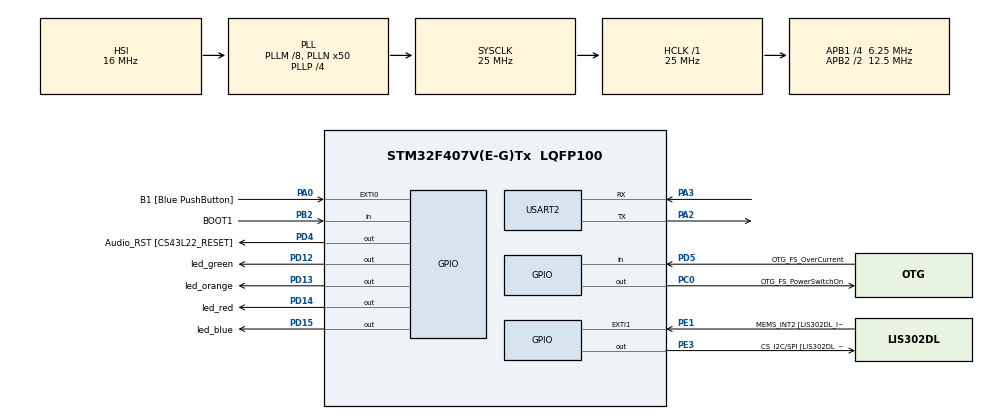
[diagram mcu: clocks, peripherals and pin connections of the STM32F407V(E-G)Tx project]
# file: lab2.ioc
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Mcu.Family=STM32F4
Mcu.Name=STM32F407V(E-G)Tx
Mcu.Package=LQFP100
NVIC.PriorityGroup=NVIC_PRIORITYGROUP_4
NVIC.TIM7_IRQn=true\:0\:0\:false\:false\:true\:false\:true
NVIC.TimeBase=TIM7_IRQn
NVIC.TimeBaseIP=TIM7
PA0-WKUP.GPIO_Label=B1 [Blue PushButton]
PA0-WKUP.Signal=GPXTI0
PA10.GPIO_Label=OTG_FS_ID
PA10.GPIO_Mode=GPIO_MODE_AF_PP
PA10.GPIO_PuPd=GPIO_NOPULL
PA10.GPIO_Speed=GPIO_SPEED_FREQ_LOW
PA10.Signal=USB_OTG_FS_ID
PA11.GPIO_Label=OTG_FS_DM
PA11.GPIO_Mode=GPIO_MODE_AF_PP
PA11.GPIO_PuPd=GPIO_NOPULL
PA11.GPIO_Speed=GPIO_SPEED_FREQ_LOW
PA11.Signal=USB_OTG_FS_DM
PA12.GPIO_Label=OTG_FS_DP
PA12.GPIO_Mode=GPIO_MODE_AF_PP
PA12.GPIO_PuPd=GPIO_NOPULL
PA12.GPIO_Speed=GPIO_SPEED_FREQ_LOW
PA12.Signal=USB_OTG_FS_DP
PA13.GPIO_Label=SWDIO
PA13.Mode=Serial_Wire
PA13.Signal=SYS_JTMS-SWDIO
PA14.GPIO_Label=SWCLK
PA14.Mode=Serial_Wire
PA14.Signal=SYS_JTCK-SWCLK
PA2.Mode=Asynchronous
PA2.Signal=USART2_TX
PA3.Mode=Asynchronous
PA3.Signal=USART2_RX
PA4.GPIO_Label=I2S3_WS [CS43L22_LRCK]
PA4.GPIO_Mode=GPIO_MODE_AF_PP
PA4.GPIO_PuPd=GPIO_NOPULL
PA4.GPIO_Speed=GPIO_SPEED_FREQ_LOW
PA4.Signal=I2S3_WS
PA5.GPIO_Label=SPI1_SCK [LIS302DL_SCL/SPC]
PA5.GPIO_Mode=GPIO_MODE_AF_PP
PA5.GPIO_PuPd=GPIO_NOPULL
PA5.GPIO_Speed=GPIO_SPEED_FREQ_LOW
PA5.Signal=SPI1_SCK
PA6.GPIO_Label=SPI1_MISO [LIS302DL_SDO]
PA6.GPIO_Mode=GPIO_MODE_AF_PP
PA6.GPIO_PuPd=GPIO_NOPULL
PA6.GPIO_Speed=GPIO_SPEED_FREQ_LOW
PA6.Signal=SPI1_MISO
PA7.GPIO_Label=SPI1_MOSI [LIS302DL_SDA/SDI/SDO]
PA7.GPIO_Mode=GPIO_MODE_AF_PP
PA7.GPIO_PuPd=GPIO_NOPULL
PA7.GPIO_Speed=GPIO_SPEED_FREQ_LOW
PA7.Signal=SPI1_MOSI
PA9.GPIO_Label=VBUS_FS
PA9.GPIO_Mode=GPIO_MODE_INPUT
PA9.GPIO_PuPd=GPIO_NOPULL
PA9.Signal=USB_OTG_FS_VBUS
PB10.GPIO_Label=CLK_IN [MP45DT02_CLK]
PB10.GPIO_Mode=GPIO_MODE_AF_PP
PB10.GPIO_PuPd=GPIO_NOPULL
PB10.GPIO_Speed=GPIO_SPEED_FREQ_LOW
PB10.Signal=I2S2_CK
PB2.GPIO_Label=BOOT1
PB2.GPIO_Mode=GPIO_MODE_INPUT
PB2.GPIO_PuPd=GPIO_NOPULL
PB2.Signal=GPIO_Input
PB3.GPIO_Label=SWO
PB3.Signal=SYS_JTDO-SWO
PB6.GPIO_Label=Audio_SCL [CS43L22_SCL]
PB6.GPIO_Mode=GPIO_MODE_AF_OD
PB6.GPIO_PuPd=GPIO_NOPULL
PB6.GPIO_Speed=GPIO_SPEED_FREQ_LOW
PB6.Signal=I2C1_SCL
PB9.GPIO_Label=Audio_SDA [CS43L22_SDA]
PB9.GPIO_Mode=GPIO_MODE_AF_OD
PB9.GPIO_PuPd=GPIO_NOPULL
PB9.GPIO_Speed=GPIO_SPEED_FREQ_LOW
PB9.Signal=I2C1_SDA
PC0.GPIO_Label=OTG_FS_PowerSwitchOn
PC0.GPIO_PuPd=GPIO_NOPULL
PC0.GPIO_Speed=GPIO_SPEED_FREQ_LOW
PC0.PinState=GPIO_PIN_SET
PC0.Signal=GPIO_Output
PC10.GPIO_Label=I2S3_SCK [CS43L22_SCLK]
PC10.GPIO_Mode=GPIO_MODE_AF_PP
PC10.GPIO_PuPd=GPIO_NOPULL
PC10.GPIO_Speed=GPIO_SPEED_FREQ_LOW
PC10.Signal=I2S3_CK
PC12.GPIO_Label=I2S3_SD [CS43L22_SDIN]
PC12.GPIO_Mode=GPIO_MODE_AF_PP
PC12.GPIO_PuPd=GPIO_NOPULL
PC12.GPIO_Speed=GPIO_SPEED_FREQ_LOW
PC12.Signal=I2S3_SD
PC14-OSC32_IN.GPIO_Label=PC14-OSC32_IN
PC14-OSC32_IN.Signal=RCC_OSC32_IN
PC15-OSC32_OUT.GPIO_Label=PC15-OSC32_OUT
PC15-OSC32_OUT.Signal=RCC_OSC32_OUT
PC3.GPIO_Label=PDM_OUT [MP45DT02_DOUT]
PC3.GPIO_Mode=GPIO_MODE_AF_PP
PC3.GPIO_PuPd=GPIO_NOPULL
PC3.GPIO_Speed=GPIO_SPEED_FREQ_LOW
PC3.Signal=I2S2_SD
PC7.GPIO_Label=I2S3_MCK [CS43L22_MCLK]
PC7.GPIO_Mode=GPIO_MODE_AF_PP
PC7.GPIO_PuPd=GPIO_NOPULL
PC7.GPIO_Speed=GPIO_SPEED_FREQ_LOW
PC7.Signal=I2S3_MCK
PD12.GPIO_Label=led_green
PD12.GPIO_PuPd=GPIO_NOPULL
PD12.GPIO_Speed=GPIO_SPEED_FREQ_LOW
PD12.Signal=GPIO_Output
PD13.GPIO_Label=led_orange
PD13.GPIO_PuPd=GPIO_NOPULL
PD13.GPIO_Speed=GPIO_SPEED_FREQ_LOW
PD13.Signal=GPIO_Output
PD14.GPIO_Label=led_red
PD14.GPIO_PuPd=GPIO_NOPULL
PD14.GPIO_Speed=GPIO_SPEED_FREQ_LOW
PD14.Signal=GPIO_Output
PD15.GPIO_Label=led_blue
PD15.GPIO_PuPd=GPIO_NOPULL
PD15.GPIO_Speed=GPIO_SPEED_FREQ_LOW
PD15.Signal=GPIO_Output
PD4.GPIO_Label=Audio_RST [CS43L22_RESET]
PD4.GPIO_PuPd=GPIO_NOPULL
PD4.GPIO_Speed=GPIO_SPEED_FREQ_LOW
PD4.Signal=GPIO_Output
PD5.GPIO_Label=OTG_FS_OverCurrent
PD5.GPIO_Mode=GPIO_MODE_INPUT
PD5.GPIO_PuPd=GPIO_NOPULL
PD5.Signal=GPIO_Input
PE1.GPIO_Label=MEMS_INT2 [LIS302DL_INT2]
PE1.GPIO_ModeDefaultEXTI=GPIO_MODE_EVT_RISING
PE1.GPIO_PuPd=GPIO_NOPULL
PE1.Signal=GPXTI1
PE3.GPIO_Label=CS_I2C/SPI [LIS302DL_CS_I2C/SPI]
PE3.GPIO_PuPd=GPIO_NOPULL
PE3.GPIO_Speed=GPIO_SPEED_FREQ_LOW
PE3.Signal=GPIO_Output
PH0-OSC_IN.GPIO_Label=PH0-OSC_IN
PH0-OSC_IN.Signal=RCC_OSC_IN
PH1-OSC_OUT.GPIO_Label=PH1-OSC_OUT
PH1-OSC_OUT.Signal=RCC_OSC_OUT
ProjectManager.HeapSize=0x200
ProjectManager.StackSize=0x400
ProjectManager.TargetToolchain=STM32CubeIDE
RCC.48MHZClocksFreq_Value=14285714.285714285
RCC.AHBFreq_Value=25000000
RCC.APB1CLKDivider=RCC_HCLK_DIV4
RCC.APB1Freq_Value=6250000
RCC.APB1TimFreq_Value=12500000
RCC.APB2CLKDivider=RCC_HCLK_DIV2
RCC.APB2Freq_Value=12500000
RCC.APB2TimFreq_Value=25000000
RCC.CortexFreq_Value=25000000
RCC.HCLKFreq_Value=25000000
RCC.HSE_VALUE=8000000
RCC.HSI_VALUE=16000000
RCC.LSE_VALUE=32768
RCC.PLLM=8
RCC.PLLN=50
RCC.PLLP=RCC_PLLP_DIV4
RCC.PLLQ=7
RCC.SYSCLKFreq_VALUE=25000000
RCC.SYSCLKSource=RCC_SYSCLKSOURCE_PLLCLK
RCC.VCOOutputFreq_Value=100000000
USART2.VirtualMode=VM_ASYNC
VP_SYS_VS_tim7.Mode=TIM7
board=STM32F407G-DISC1

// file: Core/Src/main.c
/* USER CODE BEGIN Header */
/**
  ******************************************************************************
  * @file           : main.c
  * @brief          : Main program body
  ******************************************************************************
  * @attention
  *
  * Copyright (c) 2022 STMicroelectronics.
  * All rights reserved.
  *
  * This software is licensed under terms that can be found in the LICENSE file
  * in the root directory of this software component.
  * If no LICENSE file comes with this software, it is provided AS-IS.
  *
  ******************************************************************************
  */
/* USER CODE END Header */
#include "main.h"

/* USER CODE BEGIN Includes */
#include"FreeRTOS.h"
#include"task.h"
/* USER CODE END Includes */

UART_HandleTypeDef huart2;

void SystemClock_Config(void);
static void MX_GPIO_Init(void);
static void MX_USART2_UART_Init(void);

/* USER CODE BEGIN 0 */
BaseType_t xReturned;
TaskHandle_t xHandle=NULL;

void TaskMonitor_App(void *pvParameters){
	for(;;){
		Taskmonitor();
		vTaskDelay(1000);
	}
}

void Red_LED_App(void *pvParameters){
	uint32_t Redtimer = 800;
	for(;;){
		HAL_GPIO_TogglePin(GPIOD,led_red_Pin);
		vTaskDelay(Redtimer);
		Redtimer+=1;
	}
}

void Green_LED_App(void *pvParameters){
	uint32_t Greentimer = 1000;
	for(;;){
		HAL_GPIO_TogglePin(GPIOD,led_green_Pin);
		vTaskDelay(Greentimer);
		Greentimer+=2;
	}
}

void Delay_App(void *pvParameters){
	int delayflag=0;
	uint32_t delaytime;
	while(1){
		if(delayflag==0){
			delaytime = 1000;
			delayflag=1;
		}else{
			delaytime=0xFFFFFFFF;
		}
		vTaskDelay(delaytime);
	}
}
/* USER CODE END 0 */

int main(void)
{

  /* MCU Configuration--------------------------------------------------------*/

  /* Reset of all peripherals, Initializes the Flash interface and the Systick. */
  HAL_Init();

  /* Configure the system clock */
  SystemClock_Config();

  /* Initialize all configured peripherals */
  MX_GPIO_Init();
  MX_USART2_UART_Init();
  /* USER CODE BEGIN 2 */
  xTaskCreate(
		  TaskMonitor_App,
  		  "TaskMonitor_App",
  		  256,
  		  NULL,
  		  3,
  		  &xHandle);
  xTaskCreate(
		  Red_LED_App,
    		  "Red_LED_App",
    		  128,
    		  NULL,
    		  1,
    		  &xHandle);
  xTaskCreate(
		  Green_LED_App,
    		  "Green_LED_App",
    		  128,
    		  NULL,
    		  1,
    		  &xHandle);
  xTaskCreate(
		  Delay_App,
    		  "Delay_App",
    		  128,
    		  NULL,
    		  14,
    		  &xHandle);
  /* USER CODE END 2 */

  /* Infinite loop */
  /* USER CODE BEGIN WHILE */
  vTaskStartScheduler();
  while (1)
  {
    /* USER CODE END WHILE */

  }
}

void SystemClock_Config(void)
{
  RCC_OscInitTypeDef RCC_OscInitStruct = {0};
  RCC_ClkInitTypeDef RCC_ClkInitStruct = {0};

  /** Configure the main internal regulator output voltage
  */
  __HAL_RCC_PWR_CLK_ENABLE();
  __HAL_PWR_VOLTAGESCALING_CONFIG(PWR_REGULATOR_VOLTAGE_SCALE1);
  /** Initializes the RCC Oscillators according to the specified parameters
  * in the RCC_OscInitTypeDef structure.
  */
  RCC_OscInitStruct.OscillatorType = RCC_OSCILLATORTYPE_HSI;
  RCC_OscInitStruct.HSIState = RCC_HSI_ON;
  RCC_OscInitStruct.HSICalibrationValue = RCC_HSICALIBRATION_DEFAULT;
  RCC_OscInitStruct.PLL.PLLState = RCC_PLL_ON;
  RCC_OscInitStruct.PLL.PLLSource = RCC_PLLSOURCE_HSI;
  RCC_OscInitStruct.PLL.PLLM = 8;
  RCC_OscInitStruct.PLL.PLLN = 50;
  RCC_OscInitStruct.PLL.PLLP = RCC_PLLP_DIV4;
  RCC_OscInitStruct.PLL.PLLQ = 7;
  if (HAL_RCC_OscConfig(&RCC_OscInitStruct) != HAL_OK)
  {
    Error_Handler();
  }
  /** Initializes the CPU, AHB and APB buses clocks
  */
  RCC_ClkInitStruct.ClockType = RCC_CLOCKTYPE_HCLK|RCC_CLOCKTYPE_SYSCLK
                              |RCC_CLOCKTYPE_PCLK1|RCC_CLOCKTYPE_PCLK2;
  RCC_ClkInitStruct.SYSCLKSource = RCC_SYSCLKSOURCE_PLLCLK;
  RCC_ClkInitStruct.AHBCLKDivider = RCC_SYSCLK_DIV1;
  RCC_ClkInitStruct.APB1CLKDivider = RCC_HCLK_DIV4;
  RCC_ClkInitStruct.APB2CLKDivider = RCC_HCLK_DIV2;

  if (HAL_RCC_ClockConfig(&RCC_ClkInitStruct, FLASH_LATENCY_0) != HAL_OK)
  {
    Error_Handler();
  }
}

static void MX_USART2_UART_Init(void)
{

  huart2.Instance = USART2;
  huart2.Init.BaudRate = 115200;
  huart2.Init.WordLength = UART_WORDLENGTH_8B;
  huart2.Init.StopBits = UART_STOPBITS_1;
  huart2.Init.Parity = UART_PARITY_NONE;
  huart2.Init.Mode = UART_MODE_TX_RX;
  huart2.Init.HwFlowCtl = UART_HWCONTROL_NONE;
  huart2.Init.OverSampling = UART_OVERSAMPLING_16;
  if (HAL_UART_Init(&huart2) != HAL_OK)
  {
    Error_Handler();
  }

}

static void MX_GPIO_Init(void)
{
  GPIO_InitTypeDef GPIO_InitStruct = {0};

  /* GPIO Ports Clock Enable */
  __HAL_RCC_GPIOE_CLK_ENABLE();
  __HAL_RCC_GPIOC_CLK_ENABLE();
  __HAL_RCC_GPIOH_CLK_ENABLE();
  __HAL_RCC_GPIOA_CLK_ENABLE();
  __HAL_RCC_GPIOB_CLK_ENABLE();
  __HAL_RCC_GPIOD_CLK_ENABLE();

  /*Configure GPIO pin Output Level */
  HAL_GPIO_WritePin(CS_I2C_SPI_GPIO_Port, CS_I2C_SPI_Pin, GPIO_PIN_RESET);

  /*Configure GPIO pin Output Level */
  HAL_GPIO_WritePin(OTG_FS_PowerSwitchOn_GPIO_Port, OTG_FS_PowerSwitchOn_Pin, GPIO_PIN_SET);

  /*Configure GPIO pin Output Level */
  HAL_GPIO_WritePin(GPIOD, led_green_Pin|led_orange_Pin|led_red_Pin|led_blue_Pin
                          |Audio_RST_Pin, GPIO_PIN_RESET);

  /*Configure GPIO pin : CS_I2C_SPI_Pin */
  GPIO_InitStruct.Pin = CS_I2C_SPI_Pin;
  GPIO_InitStruct.Mode = GPIO_MODE_OUTPUT_PP;
  GPIO_InitStruct.Pull = GPIO_NOPULL;
  GPIO_InitStruct.Speed = GPIO_SPEED_FREQ_LOW;
  HAL_GPIO_Init(CS_I2C_SPI_GPIO_Port, &GPIO_InitStruct);

  /*Configure GPIO pin : OTG_FS_PowerSwitchOn_Pin */
  GPIO_InitStruct.Pin = OTG_FS_PowerSwitchOn_Pin;
  GPIO_InitStruct.Mode = GPIO_MODE_OUTPUT_PP;
  GPIO_InitStruct.Pull = GPIO_NOPULL;
  GPIO_InitStruct.Speed = GPIO_SPEED_FREQ_LOW;
  HAL_GPIO_Init(OTG_FS_PowerSwitchOn_GPIO_Port, &GPIO_InitStruct);

  /*Configure GPIO pin : PDM_OUT_Pin */
  GPIO_InitStruct.Pin = PDM_OUT_Pin;
  GPIO_InitStruct.Mode = GPIO_MODE_AF_PP;
  GPIO_InitStruct.Pull = GPIO_NOPULL;
  GPIO_InitStruct.Speed = GPIO_SPEED_FREQ_LOW;
  GPIO_InitStruct.Alternate = GPIO_AF5_SPI2;
  HAL_GPIO_Init(PDM_OUT_GPIO_Port, &GPIO_InitStruct);

  /*Configure GPIO pin : B1_Pin */
  GPIO_InitStruct.Pin = B1_Pin;
  GPIO_InitStruct.Mode = GPIO_MODE_IT_RISING;
  GPIO_InitStruct.Pull = GPIO_NOPULL;
  HAL_GPIO_Init(B1_GPIO_Port, &GPIO_InitStruct);

  /*Configure GPIO pin : I2S3_WS_Pin */
  GPIO_InitStruct.Pin = I2S3_WS_Pin;
  GPIO_InitStruct.Mode = GPIO_MODE_AF_PP;
  GPIO_InitStruct.Pull = GPIO_NOPULL;
  GPIO_InitStruct.Speed = GPIO_SPEED_FREQ_LOW;
  GPIO_InitStruct.Alternate = GPIO_AF6_SPI3;
  HAL_GPIO_Init(I2S3_WS_GPIO_Port, &GPIO_InitStruct);

  /*Configure GPIO pins : SPI1_SCK_Pin SPI1_MISO_Pin SPI1_MOSI_Pin */
  GPIO_InitStruct.Pin = SPI1_SCK_Pin|SPI1_MISO_Pin|SPI1_MOSI_Pin;
  GPIO_InitStruct.Mode = GPIO_MODE_AF_PP;
  GPIO_InitStruct.Pull = GPIO_NOPULL;
  GPIO_InitStruct.Speed = GPIO_SPEED_FREQ_LOW;
  GPIO_InitStruct.Alternate = GPIO_AF5_SPI1;
  HAL_GPIO_Init(GPIOA, &GPIO_InitStruct);

  /*Configure GPIO pin : BOOT1_Pin */
  GPIO_InitStruct.Pin = BOOT1_Pin;
  GPIO_InitStruct.Mode = GPIO_MODE_INPUT;
  GPIO_InitStruct.Pull = GPIO_NOPULL;
  HAL_GPIO_Init(BOOT1_GPIO_Port, &GPIO_InitStruct);

  /*Configure GPIO pin : CLK_IN_Pin */
  GPIO_InitStruct.Pin = CLK_IN_Pin;
  GPIO_InitStruct.Mode = GPIO_MODE_AF_PP;
  GPIO_InitStruct.Pull = GPIO_NOPULL;
  GPIO_InitStruct.Speed = GPIO_SPEED_FREQ_LOW;
  GPIO_InitStruct.Alternate = GPIO_AF5_SPI2;
  HAL_GPIO_Init(CLK_IN_GPIO_Port, &GPIO_InitStruct);

  /*Configure GPIO pins : led_green_Pin led_orange_Pin led_red_Pin led_blue_Pin
                           Audio_RST_Pin */
  GPIO_InitStruct.Pin = led_green_Pin|led_orange_Pin|led_red_Pin|led_blue_Pin
                          |Audio_RST_Pin;
  GPIO_InitStruct.Mode = GPIO_MODE_OUTPUT_PP;
  GPIO_InitStruct.Pull = GPIO_NOPULL;
  GPIO_InitStruct.Speed = GPIO_SPEED_FREQ_LOW;
  HAL_GPIO_Init(GPIOD, &GPIO_InitStruct);

  /*Configure GPIO pins : I2S3_MCK_Pin I2S3_SCK_Pin I2S3_SD_Pin */
  GPIO_InitStruct.Pin = I2S3_MCK_Pin|I2S3_SCK_Pin|I2S3_SD_Pin;
  GPIO_InitStruct.Mode = GPIO_MODE_AF_PP;
  GPIO_InitStruct.Pull = GPIO_NOPULL;
  GPIO_InitStruct.Speed = GPIO_SPEED_FREQ_LOW;
  GPIO_InitStruct.Alternate = GPIO_AF6_SPI3;
  HAL_GPIO_Init(GPIOC, &GPIO_InitStruct);

  /*Configure GPIO pin : VBUS_FS_Pin */
  GPIO_InitStruct.Pin = VBUS_FS_Pin;
  GPIO_InitStruct.Mode = GPIO_MODE_INPUT;
  GPIO_InitStruct.Pull = GPIO_NOPULL;
  HAL_GPIO_Init(VBUS_FS_GPIO_Port, &GPIO_InitStruct);

  /*Configure GPIO pins : OTG_FS_ID_Pin OTG_FS_DM_Pin OTG_FS_DP_Pin */
  GPIO_InitStruct.Pin = OTG_FS_ID_Pin|OTG_FS_DM_Pin|OTG_FS_DP_Pin;
  GPIO_InitStruct.Mode = GPIO_MODE_AF_PP;
  GPIO_InitStruct.Pull = GPIO_NOPULL;
  GPIO_InitStruct.Speed = GPIO_SPEED_FREQ_LOW;
  GPIO_InitStruct.Alternate = GPIO_AF10_OTG_FS;
  HAL_GPIO_Init(GPIOA, &GPIO_InitStruct);

  /*Configure GPIO pin : OTG_FS_OverCurrent_Pin */
  GPIO_InitStruct.Pin = OTG_FS_OverCurrent_Pin;
  GPIO_InitStruct.Mode = GPIO_MODE_INPUT;
  GPIO_InitStruct.Pull = GPIO_NOPULL;
  HAL_GPIO_Init(OTG_FS_OverCurrent_GPIO_Port, &GPIO_InitStruct);

  /*Configure GPIO pins : Audio_SCL_Pin Audio_SDA_Pin */
  GPIO_InitStruct.Pin = Audio_SCL_Pin|Audio_SDA_Pin;
  GPIO_InitStruct.Mode = GPIO_MODE_AF_OD;
  GPIO_InitStruct.Pull = GPIO_NOPULL;
  GPIO_InitStruct.Speed = GPIO_SPEED_FREQ_LOW;
  GPIO_InitStruct.Alternate = GPIO_AF4_I2C1;
  HAL_GPIO_Init(GPIOB, &GPIO_InitStruct);

  /*Configure GPIO pin : MEMS_INT2_Pin */
  GPIO_InitStruct.Pin = MEMS_INT2_Pin;
  GPIO_InitStruct.Mode = GPIO_MODE_EVT_RISING;
  GPIO_InitStruct.Pull = GPIO_NOPULL;
  HAL_GPIO_Init(MEMS_INT2_GPIO_Port, &GPIO_InitStruct);

}

void HAL_TIM_PeriodElapsedCallback(TIM_HandleTypeDef *htim)
{
  if (htim->Instance == TIM7) {
    HAL_IncTick();
  }
}

void Error_Handler(void)
{
  __disable_irq();
  while (1)
  {
  }
}
